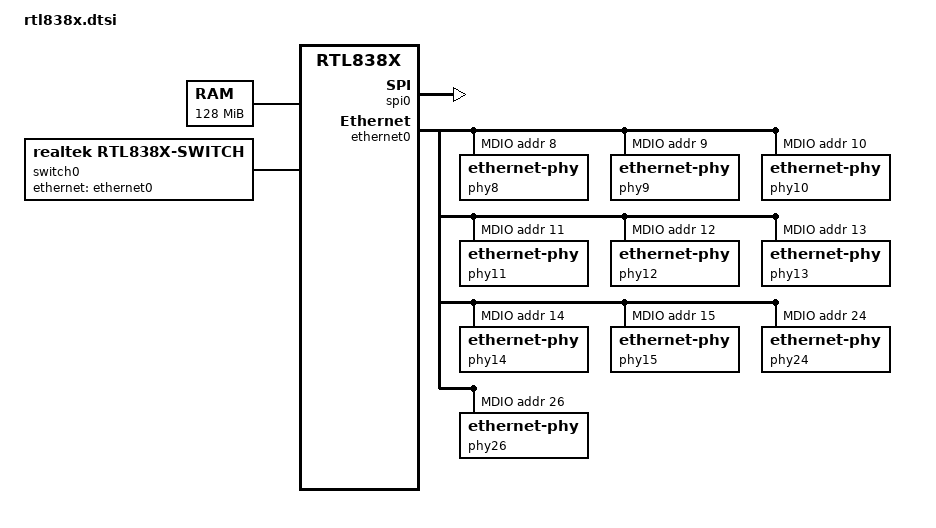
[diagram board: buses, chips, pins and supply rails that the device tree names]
// SPDX-License-Identifier: GPL-2.0-or-later OR MIT

/ {
	#address-cells = <1>;
	#size-cells = <1>;
	
	compatible = "realtek,rtl838x-soc";

	cpus {
		#address-cells = <1>;
		#size-cells = <0>;
		frequency = <500000000>;

		cpu@0 {
			compatible = "mips,mips4KEc";
			reg = <0>;
		};
	};

	memory@0 {
		device_type = "memory";
		reg = <0x0 0x8000000>;
	};
	
	chosen {
		bootargs = "console=ttyS0,38400";
	};

	cpuintc: cpuintc {
		#address-cells = <0>;
		#interrupt-cells = <1>;
		interrupt-controller;
		compatible = "mti,cpu-interrupt-controller";
	};

	spi0: spi@b8001200 {
		status = "okay";

		compatible = "realtek,rtl838x-nor";
		reg = <0xb800120 0x100>;

		#address-cells = <1>;
		#size-cells = <0>;
	};
	
	ethernet0: ethernet@0xbb000000 {
		status = "okay";
		compatible = "realtek,rtl838x-eth";
		reg = <0xbb000000 0x100>;
		#address-cells = <1>;
		#size-cells = <0>;
		local-mac-address = [04 BF 6D 23 A0 B4];
		interrupt-parent = <&cpuintc>;
		interrupts = <32>;
		#interrupt-cells = <1>;
		
		mdio: mdio-bus {
			#address-cells = <1>;
			#size-cells = <0>;

			/* Internal phy */
			phy8: ethernet-phy@8 {
				reg = <8>;
			};
			phy9: ethernet-phy@9 {
				reg = <9>;
			};
			phy10: ethernet-phy@10 {
				reg = <10>;
			};
			phy11: ethernet-phy@11 {
				reg = <11>;
			};
			phy12: ethernet-phy@12 {
				reg = <12>;
			};
			phy13: ethernet-phy@13 {
				reg = <13>;
			};
			phy14: ethernet-phy@14 {
				reg = <14>;
			};
			phy15: ethernet-phy@15 {
				reg = <15>;
			};
			phy24: ethernet-phy@24 {
				reg = <24>;
			};
			phy26: ethernet-phy@26 {
				reg = <26>;
			};
		};
	};
	
	
	
	switch0: switch0@0 {
		status = "okay";
		compatible = "realtek,rtl838x-switch";
		reg = <0>;
	
		ports {
			#address-cells = <1>;
			#size-cells = <0>;
		
			port@0 {
				reg = <8>;
				label = "lan1";
				phy-handle = <&phy8>;
			};
			port@1 {
				reg = <9>;
				label = "lan2";
				phy-handle = <&phy9>;
			};
			port@2 {
				reg = <10>;
				label = "lan3";
				phy-handle = <&phy10>;
			};
			port@3 {
				reg = <11>;
				label = "lan4";
				phy-handle = <&phy11>;
			};
			port@4 {
				reg = <12>;
				label = "lan5";
				phy-handle = <&phy12>;
			};
			port@5 {
				reg = <13>;
				label = "lan6";
				phy-handle = <&phy13>;
			};
			port@6 {
				reg = <14>;
				label = "lan7";
				phy-handle = <&phy14>;
			};
			port@7 {
				reg = <15>;
				label = "lan8";
				phy-handle = <&phy15>;
			};
			port@24 {
				reg = <24>;
				label = "lan9";
				phy-mode = "qsgmii";
				phy-handle = <&phy24>;
			};
			port@26 {
				reg = <26>;
				label = "lan10";
				phy-mode = "qsgmii";
				phy-handle = <&phy26>;
			};
			port@28 {
				ethernet = <&ethernet0>;
				reg = <28>;
				fixed-link {
					speed = <1000>;
					full-duplex;
				};
			};
		};
	};
	
};
